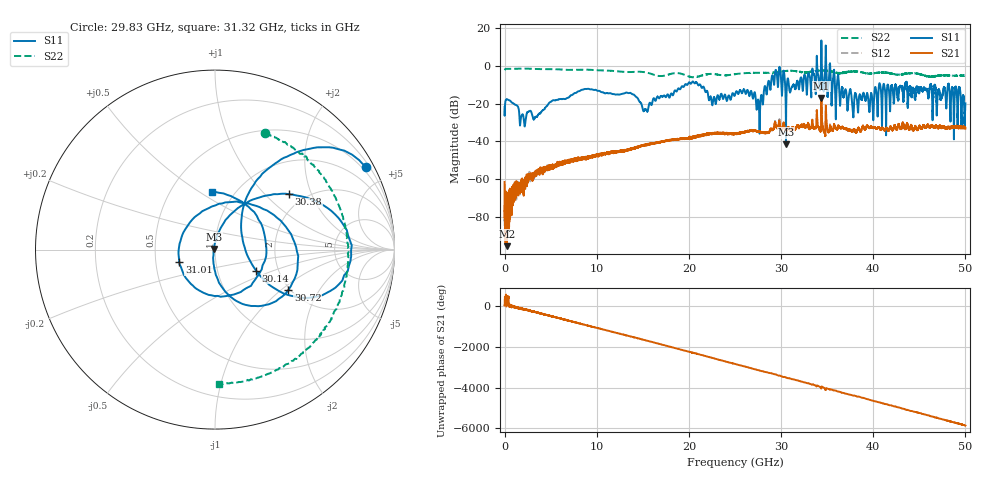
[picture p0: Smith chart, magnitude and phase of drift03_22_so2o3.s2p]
!Created with skrf (http://scikit-rf.org).
# Hz S RI R 50.0
!freq ReS11 ImS11 ReS21 ImS21 ReS12 ImS12 ReS22 ImS22
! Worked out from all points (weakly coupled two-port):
!   10001 points, 300 kHz to 50 GHz, reference 50 ohm
!   highest |S21| = -16.91 dB at 34.37 GHz (marker M1); lowest = -95.5 dB at 245.3 MHz (marker M2)
!   lowest |S11| = -41.5 dB at 30.53 GHz (marker M3), VSWR 1.02, Z = 49.3 + j0.41 ohm
!   |S11| at or under -10 dB: start of sweep to 19.56 GHz; 21.25 GHz to 28.55 GHz (7.295 GHz wide, 29.3 % of centre); 36.28 GHz to 40.63 GHz (4.344 GHz wide, 11.3 % of centre) (the widest 3 of 42)
!   |S22| runs from -5.9 to -1.3 dB; largest |S21 - S12| = 0.024
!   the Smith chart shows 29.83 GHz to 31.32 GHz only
!   S11 on the Smith chart (normalised r, x): 29.83 GHz: 0.33, +3.86; 30.14 GHz: 1.53, -0.39; 30.38 GHz: 1.67, +1.40; 30.72 GHz: 1.96, -1.12; 31.01 GHz: 0.66, -0.10; 31.32 GHz: 0.79, +0.56
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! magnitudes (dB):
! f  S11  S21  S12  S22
! 300 kHz  -21.6  -61.4  -62.8  -2.1
! 245.3 MHz  -17.6  -95.5  -83.6  -1.4
! 3.3 GHz  -27.2  -56.5  -57.4  -1.5
! 8.335 GHz  -12.6  -48.9  -48.9  -1.9
! 15.29 GHz  -22.8  -42.0  -41.9  -3.3
! 16.67 GHz  -16.5  -40.4  -40.6  -5.2
! 20.26 GHz  -9.2  -38.4  -37.4  -5.8
! 22.71 GHz  -16.4  -35.7  -35.6  -4.2
! 25 GHz  -15.3  -35.7  -35.8  -4.3
! 27.53 GHz  -17.8  -34.6  -34.5  -3.5
! 29.83 GHz  -0.4  -29.1  -28.5  -3.0
! 30.14 GHz  -11.8  -33.2  -33.5  -2.8
! 30.38 GHz  -5.8  -32.3  -32.4  -2.6
! 30.53 GHz  -41.5  -34.1  -34.2  -2.6
! 30.72 GHz  -6.6  -32.9  -32.7  -2.5
! 31.01 GHz  -13.6  -34.2  -34.2  -2.5
! 31.32 GHz  -9.9  -32.3  -32.6  -2.5
! 33.34 GHz  -7.5  -31.3  -31.2  -2.9
! 34.37 GHz  13.6  -16.9  -18.0  -2.3
! 37.85 GHz  -27.2  -33.7  -34.5  -2.9
! 41.67 GHz  -11.6  -34.0  -34.1  -3.6
! 50 GHz  -19.8  -33.2  -32.6  -5.0
